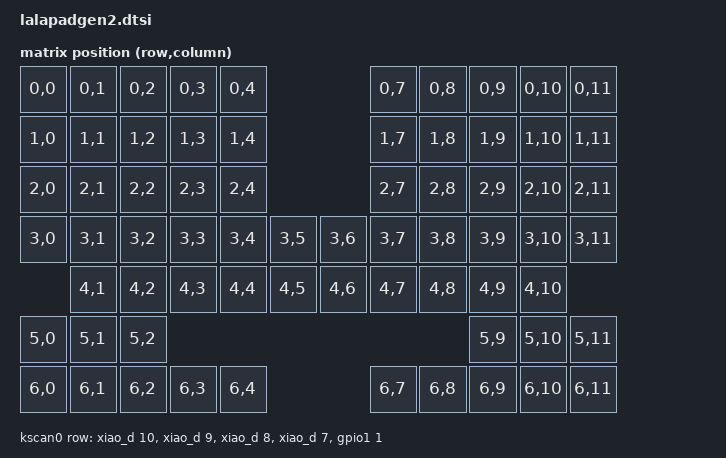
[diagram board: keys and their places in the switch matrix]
#include <dt-bindings/zmk/keys.h>
#include <dt-bindings/zmk/matrix_transform.h>
#include <dt-bindings/zmk/input_transform.h>
#include <dt-bindings/zmk/zip_dynamic_scale.h>
#include <zephyr/dt-bindings/input/input-event-codes.h>
#include <input/processors.dtsi>
#include "lalapadgen2-layouts.dtsi"

#define POS_TP_LCLK_L  52
#define POS_TP_RCLK_L  53
#define POS_TP_MCLK_L  54
#define POS_TP_LEFT_L  58
#define POS_TP_RIGHT_L 59
#define POS_TP_UP_L    60
#define POS_TP_DOWN_L  61
#define POS_TP_PINCH_L 62

#define POS_TP_LCLK_R  55
#define POS_TP_RCLK_R  56
#define POS_TP_MCLK_R  57
#define POS_TP_LEFT_R  63
#define POS_TP_RIGHT_R 64
#define POS_TP_UP_R    65
#define POS_TP_DOWN_R  66
#define POS_TP_PINCH_R 67

/ {
    chosen {
        zmk,physical-layout = &lalapadgen2_physical_layout;
    };

    default_transform: keymap_transform_0 {
        compatible = "zmk,matrix-transform";
        columns = <12>;
        rows = <7>;
        map = <
            RC(0,0)	RC(0,1)	RC(0,2)	RC(0,3)	RC(0,4)	        	    RC(0,7)	RC(0,8)	RC(0,9)	RC(0,10) RC(0,11)
            RC(1,0)	RC(1,1)	RC(1,2)	RC(1,3)	RC(1,4)	       		    RC(1,7)	RC(1,8)	RC(1,9)	RC(1,10) RC(1,11)
            RC(2,0)	RC(2,1)	RC(2,2)	RC(2,3)	RC(2,4)	       		    RC(2,7)	RC(2,8)	RC(2,9)	RC(2,10) RC(2,11)
            RC(3,0)	RC(3,1)	RC(3,2)	RC(3,3)	RC(3,4)	RC(3,5)	RC(3,6)	RC(3,7)	RC(3,8)	RC(3,9)	RC(3,10) RC(3,11)
                    RC(4,1) RC(4,2)	RC(4,3)	RC(4,4)	RC(4,5)	RC(4,6)	RC(4,7)	RC(4,8)	RC(4,9)	RC(4,10)	
            RC(5,0)	RC(5,1) RC(5,2)                                                 RC(5,9)	RC(5,10) RC(5,11)
            RC(6,0)	RC(6,1) RC(6,2)	RC(6,3)	RC(6,4)                 RC(6,7)	RC(6,8) RC(6,9)	RC(6,10) RC(6,11)
        >;
    };

    kscan0: kscan {
        compatible = "zmk,kscan-gpio-matrix";
        wakeup-source;

        diode-direction = "col2row";
        row-gpios
            = <&xiao_d 10 (GPIO_ACTIVE_HIGH | GPIO_PULL_DOWN)> 
            , <&xiao_d 9 (GPIO_ACTIVE_HIGH | GPIO_PULL_DOWN)>
            , <&xiao_d 8 (GPIO_ACTIVE_HIGH | GPIO_PULL_DOWN)>
            , <&xiao_d 7 (GPIO_ACTIVE_HIGH | GPIO_PULL_DOWN)>
            , <&gpio1  1 (GPIO_ACTIVE_HIGH | GPIO_PULL_DOWN)>
            ;
    };

    // Input Listners
    split_inputs_R {
        #address-cells = <1>;
        #size-cells = <0>;

        trackpad_split_R: trackpad_split_R@0 {
            compatible = "zmk,input-split";
            reg = <0>;
        };
    };
    split_inputs_L {
        #address-cells = <1>;
        #size-cells = <0>;

        trackpad_split_L: trackpad_split_L@1 {
            compatible = "zmk,input-split";
            reg = <1>;
        };
    };

    behaviors {
        tp_to_pos: tp_to_pos {
            compatible = "zmk,behavior-trackpad-to-pos";
            #binding-cells = <1>;
        };
    };

    trackpad_key_behaviors_R: trackpad_key_behaviors_R {
        compatible = "zmk,input-processor-behaviors-consume";
        #input-processor-cells = <0>;
        type = <INPUT_EV_KEY>;
        codes = <
                    INPUT_BTN_0
                    INPUT_BTN_1
                    INPUT_BTN_2
                    INPUT_BTN_3
                    INPUT_BTN_4
                    INPUT_BTN_5 
                    INPUT_BTN_6
                    INPUT_BTN_7
                    >;
        bindings = <
                    &tp_to_pos  POS_TP_LCLK_R
                    &tp_to_pos  POS_TP_RCLK_R
                    &tp_to_pos  POS_TP_MCLK_R
                    &tp_to_pos  POS_TP_LEFT_R
                    &tp_to_pos  POS_TP_RIGHT_R
                    &tp_to_pos  POS_TP_UP_R
                    &tp_to_pos  POS_TP_DOWN_R
                    &tp_to_pos  POS_TP_PINCH_R
                    >;
    };
    trackpad_key_behaviors_L: trackpad_key_behaviors_L {
        compatible = "zmk,input-processor-behaviors-consume";
        #input-processor-cells = <0>;
        type = <INPUT_EV_KEY>;
        codes = <
                    INPUT_BTN_0
                    INPUT_BTN_1
                    INPUT_BTN_2
                    INPUT_BTN_3
                    INPUT_BTN_4
                    INPUT_BTN_5 
                    INPUT_BTN_6
                    INPUT_BTN_7
                    >;
        bindings = <
                    &tp_to_pos  POS_TP_LCLK_L
                    &tp_to_pos  POS_TP_RCLK_L
                    &tp_to_pos  POS_TP_MCLK_L
                    &tp_to_pos  POS_TP_LEFT_L
                    &tp_to_pos  POS_TP_RIGHT_L
                    &tp_to_pos  POS_TP_UP_L
                    &tp_to_pos  POS_TP_DOWN_L
                    &tp_to_pos  POS_TP_PINCH_L
                    >;
    };
    
    zip_dynamic_xy_scaler: zip_dynamic_xy_scaler {
        compatible = "zmk,input-processor-dynamic-scaler";
        #input-processor-cells = <0>;
        type = <INPUT_EV_REL>;
        codes = <INPUT_REL_X INPUT_REL_Y>;
        scale-group = <ZDS_XY>;
        track-remainders;
    };

    zip_dynamic_scroll_scaler: zip_dynamic_scroll_scaler {
        compatible = "zmk,input-processor-dynamic-scaler";
        #input-processor-cells = <0>;
        type = <INPUT_EV_REL>;
        codes = <INPUT_REL_WHEEL INPUT_REL_HWHEEL>;
        scale-group = <ZDS_SC>;
        track-remainders;
    };

    trackpad_listener_R: trackpad_listener_R {
        compatible = "zmk,input-listener";
        status = "disabled";
        device = <&trackpad_split_R>;
        input-processors = <&trackpad_key_behaviors_R>,
                           <&zip_xy_scaler 1 5>,
                           <&zip_scroll_scaler 1 12>,
                           <&zip_dynamic_xy_scaler>,
                           <&zip_dynamic_scroll_scaler>;
        lowspeedmode {
            layers = <1>,<2>;
            input-processors =  <&trackpad_key_behaviors_R>,
                                <&zip_xy_scaler 1 15>,
                                <&zip_scroll_scaler 1 40>,
                                <&zip_dynamic_xy_scaler>,
                                <&zip_dynamic_scroll_scaler>;
        };
    };
    trackpad_listener_L: trackpad_listener_L {
        compatible = "zmk,input-listener";
        status = "disabled";
        device = <&trackpad_split_L>;
        input-processors = <&trackpad_key_behaviors_L>,
                           <&zip_xy_scaler 1 5>,
                           <&zip_scroll_scaler 1 12>,
                           <&zip_dynamic_xy_scaler>,
                           <&zip_dynamic_scroll_scaler>;
        lowspeedmode {
            layers = <1>,<2>;
            input-processors =  <&trackpad_key_behaviors_L>,
                                <&zip_xy_scaler 1 15>,
                                <&zip_scroll_scaler 1 40>,
                                <&zip_dynamic_xy_scaler>,
                                <&zip_dynamic_scroll_scaler>;
        };
    };

    aliases {
        led-red = &led0;
        led-green = &led1;
        led-blue = &led2;
    };

    leds {
        compatible = "gpio-leds";
        status = "okay";
        led0: led_0 {
            gpios = <&gpio1 3 GPIO_ACTIVE_LOW>;  // red LED, connected to P1.03
        };
        led1: led_1 {
            gpios = <&gpio1 5 GPIO_ACTIVE_LOW>;  // green LED, connected to P1.05
        };
        led2: led_2 {
            gpios = <&gpio1 7 GPIO_ACTIVE_LOW>;  // blue LED, connected to P1.07
        };
    };
    
    easy_charge_indicator: easy_charge_indicator {
        compatible = "zmk,easy-charge-indicator";
        status = "okay";
        charge-gpios = <&gpio0 17 GPIO_ACTIVE_LOW>;
        led-gpios = <&gpio0 10 (GPIO_ACTIVE_LOW | GPIO_OPEN_DRAIN)>;
   };
};

// TrackPad on I2C
&xiao_i2c {
status = "okay";

    iqs9151: iqs9151@56 {
        compatible = "azoteq,iqs9151";
        reg = <0x56>;
        status = "okay";
        irq-gpios = <&xiao_d 6 (GPIO_ACTIVE_LOW | GPIO_PULL_UP)>;
    };
};
